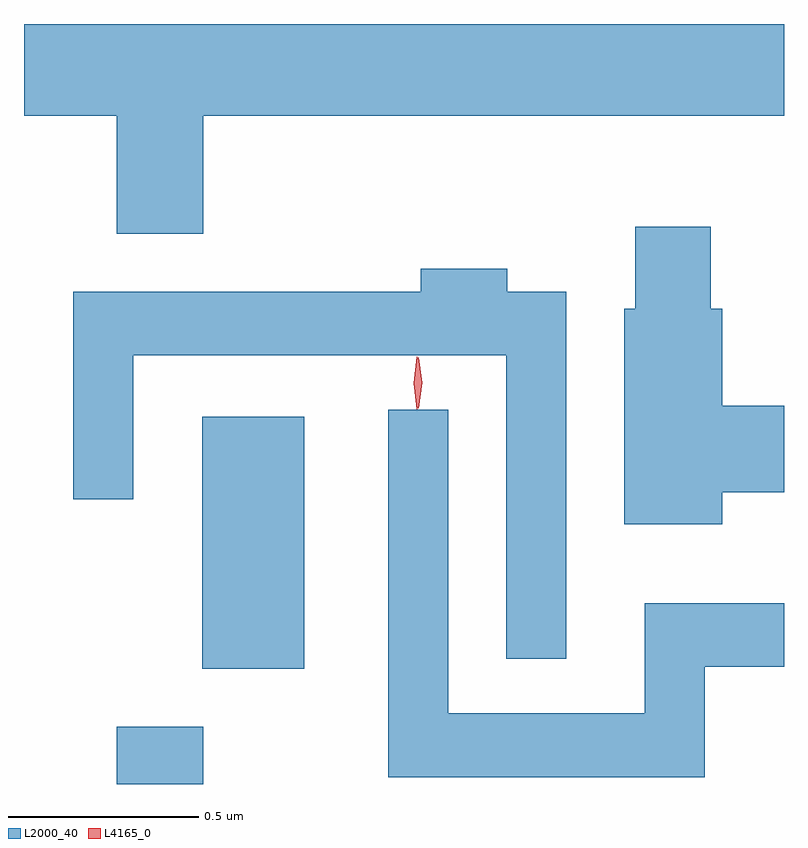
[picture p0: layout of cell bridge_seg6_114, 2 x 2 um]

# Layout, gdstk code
import gdstk
lib = gdstk.Library(unit=1e-6, precision=1e-09)
def R(c, l, rs):  # rectangles x0, y0, x1, y1
    for r in rs: c.add(gdstk.rectangle(r[:2], r[2:], *l))
def P(c, l, *ps):  # polygons
    for p in ps: c.add(gdstk.Polygon(p, *l))
L2000_40 = (2000, 40)
L4165_0 = (4165, 0)

bridge_seg6_114 = lib.new_cell('bridge_seg6_114')
R(bridge_seg6_114, L2000_40, [(1082.321,1612.658,1082.549,1612.809), (1082.546,1612.961,1082.814,1613.624)])
P(bridge_seg6_114, L2000_40, [(1082.549,1614.416),(1084.077,1614.416),(1084.077,1614.658),(1082.077,1614.658),(1082.077,1614.416),(1082.321,1614.416),(1082.321,1614.106),(1082.549,1614.106)],
  [(1083.914,1613.426),(1084.077,1613.426),(1084.077,1613.654),(1083.914,1613.654),(1083.914,1613.909),(1083.884,1613.909),(1083.884,1614.124),(1083.686,1614.124),(1083.686,1613.909),(1083.656,1613.909),(1083.656,1613.341),(1083.914,1613.341)],
  [(1083.504,1613.954),(1083.349,1613.954),(1083.349,1614.014),(1083.121,1614.014),(1083.121,1613.954),(1082.206,1613.954),(1082.206,1613.408),(1082.364,1613.408),(1082.364,1613.786),(1083.346,1613.786),(1083.346,1612.988),(1083.504,1612.988)],
  [(1083.869,1612.966),(1084.077,1612.966),(1084.077,1613.134),(1083.711,1613.134),(1083.711,1612.844),(1083.194,1612.844),(1083.194,1613.643),(1083.036,1613.643),(1083.036,1612.676),(1083.869,1612.676)])
P(bridge_seg6_114, L4165_0, [(1083.111,1613.644),(1083.102,1613.713),(1083.111,1613.782),(1083.112,1613.783),(1083.112,1613.782),(1083.122,1613.713),(1083.112,1613.644),(1083.112,1613.644)],
  [(1083.114,1613.647),(1083.105,1613.714),(1083.114,1613.78),(1083.115,1613.781),(1083.116,1613.78),(1083.125,1613.714),(1083.116,1613.647),(1083.115,1613.647)])

lib.write_gds('bridge_seg6_114.gds')
